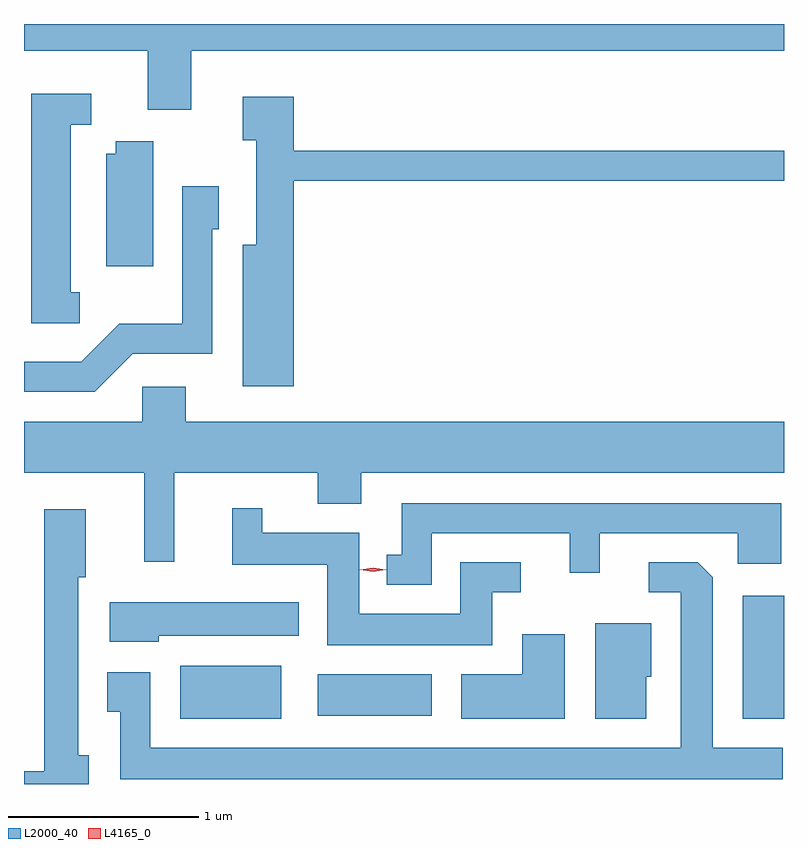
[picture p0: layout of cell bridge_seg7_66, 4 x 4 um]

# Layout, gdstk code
import gdstk
lib = gdstk.Library(unit=1e-6, precision=1e-09)
def R(c, l, rs):  # rectangles x0, y0, x1, y1
    for r in rs: c.add(gdstk.rectangle(r[:2], r[2:], *l))
def P(c, l, *ps):  # polygons
    for p in ps: c.add(gdstk.Polygon(p, *l))
L2000_40 = (2000, 40)
L4165_0 = (4165, 0)

bridge_seg7_66 = lib.new_cell('bridge_seg7_66')
R(bridge_seg7_66, L2000_40, [(1647.536,1761.861,1648.069,1762.139), (1650.496,1761.861,1650.714,1762.509), (1648.261,1761.876,1648.859,1762.094)])
P(bridge_seg7_66, L2000_40, [(1646.714,1765.376),(1647.366,1765.376),(1647.366,1765.066),(1647.594,1765.066),(1647.594,1765.376),(1650.714,1765.376),(1650.714,1765.517),(1646.714,1765.517)],
  [(1647.008,1764.104),(1646.959,1764.104),(1646.959,1764.986),(1647.068,1764.986),(1647.068,1765.149),(1646.751,1765.149),(1646.751,1763.941),(1647.008,1763.941)],
  [(1648.134,1764.691),(1650.714,1764.691),(1650.714,1764.849),(1648.134,1764.849),(1648.134,1765.134),(1647.866,1765.134),(1647.866,1764.906),(1647.936,1764.906),(1647.936,1764.354),(1647.866,1764.354),(1647.866,1763.611),(1648.134,1763.611)],
  [(1647.394,1764.899),(1647.196,1764.899),(1647.196,1764.834),(1647.146,1764.834),(1647.146,1764.241),(1647.394,1764.241)],
  [(1647.287,1763.781),(1647.704,1763.781),(1647.704,1764.436),(1647.739,1764.436),(1647.739,1764.664),(1647.546,1764.664),(1647.546,1763.939),(1647.214,1763.939),(1647.014,1763.739),(1646.714,1763.739),(1646.714,1763.581),(1647.087,1763.581)],
  [(1647.504,1763.156),(1648.261,1763.156),(1648.261,1762.991),(1648.489,1762.991),(1648.489,1763.156),(1650.714,1763.156),(1650.714,1763.424),(1647.564,1763.424),(1647.564,1763.609),(1647.336,1763.609),(1647.336,1763.424),(1646.714,1763.424),(1646.714,1763.156),(1647.346,1763.156),(1647.346,1762.688),(1647.504,1762.688)],
  [(1648.859,1762.836),(1649.586,1762.836),(1649.586,1762.628),(1649.744,1762.628),(1649.744,1762.836),(1650.471,1762.836),(1650.471,1762.676),(1650.699,1762.676),(1650.699,1762.994),(1648.701,1762.994),(1648.701,1762.724),(1648.623,1762.724),(1648.623,1762.566),(1648.859,1762.566)],
  [(1649.179,1762.526),(1649.328,1762.526),(1649.328,1762.684),(1649.011,1762.684),(1649.011,1762.414),(1648.479,1762.414),(1648.479,1762.839),(1647.969,1762.839),(1647.969,1762.968),(1647.811,1762.968),(1647.811,1762.671),(1648.311,1762.671),(1648.311,1762.246),(1649.179,1762.246)],
  [(1647.054,1761.669),(1646.999,1761.669),(1646.999,1762.606),(1647.039,1762.606),(1647.039,1762.964),(1646.821,1762.964),(1646.821,1761.584),(1646.714,1761.584),(1646.714,1761.517),(1647.054,1761.517)],
  [(1650.708,1761.709),(1650.339,1761.709),(1650.339,1762.604),(1650.259,1762.684),(1650.003,1762.684),(1650.003,1762.526),(1650.171,1762.526),(1650.171,1761.709),(1647.379,1761.709),(1647.379,1762.104),(1647.151,1762.104),(1647.151,1761.896),(1647.221,1761.896),(1647.221,1761.541),(1650.708,1761.541)],
  [(1647.424,1762.296),(1648.159,1762.296),(1648.159,1762.474),(1647.166,1762.474),(1647.166,1762.266),(1647.424,1762.266)],
  [(1649.989,1762.081),(1650.014,1762.081),(1650.014,1762.364),(1649.721,1762.364),(1649.721,1761.861),(1649.989,1761.861)],
  [(1649.559,1762.304),(1649.336,1762.304),(1649.336,1762.094),(1649.016,1762.094),(1649.016,1761.861),(1649.559,1761.861)])
P(bridge_seg7_66, L4165_0, [(1648.551,1762.635),(1648.482,1762.644),(1648.482,1762.644),(1648.482,1762.645),(1648.551,1762.654),(1648.621,1762.645),(1648.621,1762.645),(1648.621,1762.644)])

lib.write_gds('bridge_seg7_66.gds')
